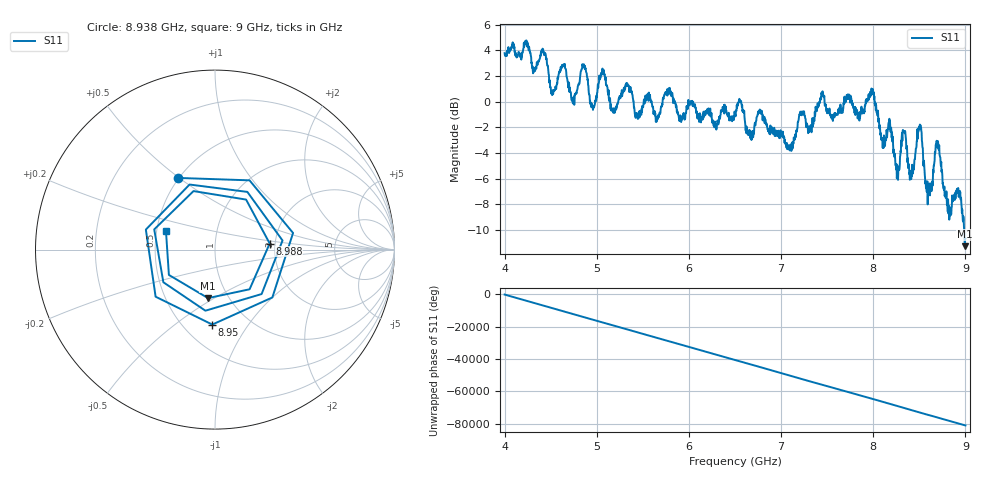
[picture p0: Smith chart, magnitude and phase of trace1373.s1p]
! Created with skrf 1.8.0 (http://scikit-rf.org).
# Hz S RI R 50.0
!freq ReS11 ImS11
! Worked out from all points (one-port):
!   1601 points, 4 GHz to 9 GHz, reference 50 ohm
!   lowest |S11| = -11.3 dB at 8.994 GHz (marker M1), VSWR 1.75, Z = 40.2 - j23.5 ohm
!   |S11| at or under -10 dB: 8.986186 GHz to end of sweep
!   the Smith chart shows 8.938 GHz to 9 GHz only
!   S11 on the Smith chart (normalised r, x): 8.938 GHz: 0.50, +0.50; 8.95 GHz: 0.68, -0.69; 8.988 GHz: 1.87, +0.14; 9 GHz: 0.56, +0.13
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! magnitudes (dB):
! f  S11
! 4 GHz  3.8
! 4.422 GHz  3.8
! 4.522 GHz  0.9
! 4.625 GHz  2.8
! 4.738 GHz  0.0
! 4.856 GHz  2.7
! 4.95 GHz  -0.4
! 5.062 GHz  2.6
! 5.25 GHz  0.4
! 5.875 GHz  -0.9
! 6.5 GHz  -1.0
! 7.125 GHz  -3.6
! 7.444 GHz  0.4
! 7.75 GHz  -0.1
! 7.988 GHz  0.6
! 8.262 GHz  -5.1
! 8.328 GHz  -2.4
! 8.375 GHz  -4.4
! 8.419 GHz  -5.8
! 8.503 GHz  -2.2
! 8.591 GHz  -8.0
! 8.694 GHz  -3.5
! 8.822 GHz  -8.5
! 8.938 GHz  -7.0
! 8.95 GHz  -7.6
! 8.988 GHz  -10.3
! 8.994 GHz  -11.3
! 9 GHz  -10.7
